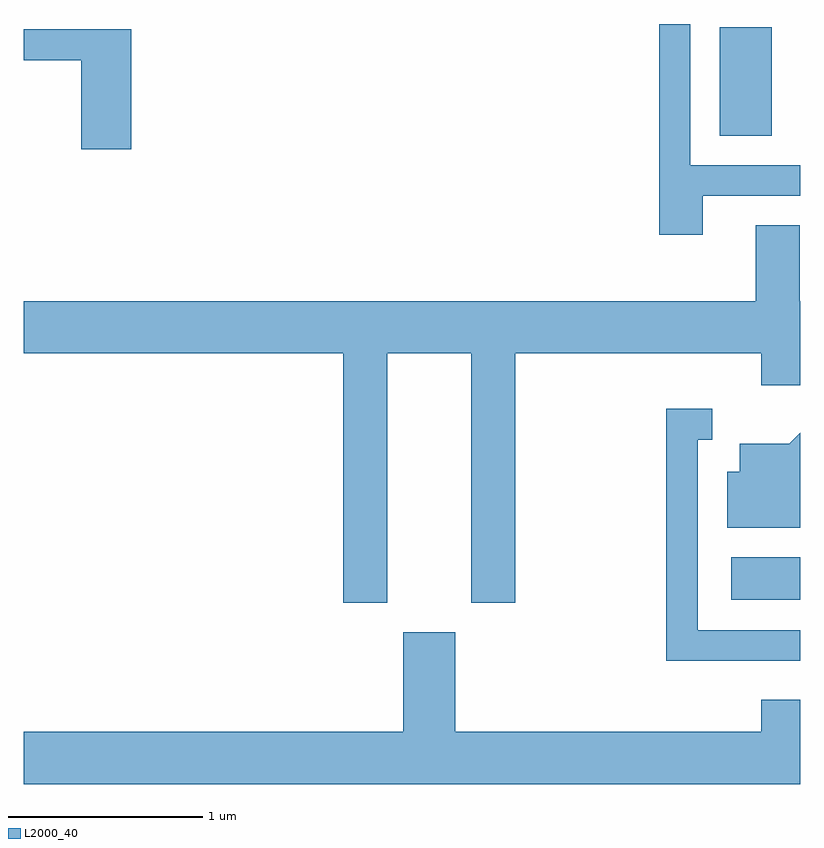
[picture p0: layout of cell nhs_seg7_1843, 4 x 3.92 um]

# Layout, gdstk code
import gdstk
lib = gdstk.Library(unit=1e-6, precision=1e-09)
def R(c, l, rs):  # rectangles x0, y0, x1, y1
    for r in rs: c.add(gdstk.rectangle(r[:2], r[2:], *l))
def P(c, l, *ps):  # polygons
    for p in ps: c.add(gdstk.Polygon(p, *l))
L2000_40 = (2000, 40)

nhs_seg7_1843 = lib.new_cell('nhs_seg7_1843')
R(nhs_seg7_1843, L2000_40, [(245.256,1695.286,245.611,1695.504), (245.196,1697.676,245.464,1698.234)])
P(nhs_seg7_1843, L2000_40, [(245.109,1697.366),(245.611,1697.366),(245.611,1697.524),(245.044,1697.524),(245.044,1698.252),(244.886,1698.252),(244.886,1697.166),(245.109,1697.166)],
  [(242.164,1698.224),(241.611,1698.224),(241.611,1698.066),(241.906,1698.066),(241.906,1697.606),(242.164,1697.606)],
  [(243.484,1696.556),(243.916,1696.556),(243.916,1695.271),(244.144,1695.271),(244.144,1696.556),(245.411,1696.556),(245.411,1696.391),(245.611,1696.391),(245.611,1696.824),(245.609,1696.824),(245.609,1697.214),(245.381,1697.214),(245.381,1696.824),(241.611,1696.824),(241.611,1696.556),(243.256,1696.556),(243.256,1695.271),(243.484,1695.271)],
  [(245.611,1695.129),(245.084,1695.129),(245.084,1696.111),(245.158,1696.111),(245.158,1696.269),(244.921,1696.269),(244.921,1694.971),(245.611,1694.971)],
  [(245.611,1696.146),(245.554,1696.089),(245.301,1696.089),(245.301,1695.944),(245.236,1695.944),(245.236,1695.656),(245.611,1695.656)],
  [(245.611,1694.769),(245.411,1694.769),(245.411,1694.604),(243.834,1694.604),(243.834,1695.119),(243.566,1695.119),(243.566,1694.604),(241.611,1694.604),(241.611,1694.336),(245.611,1694.336)])

lib.write_gds('nhs_seg7_1843.gds')
